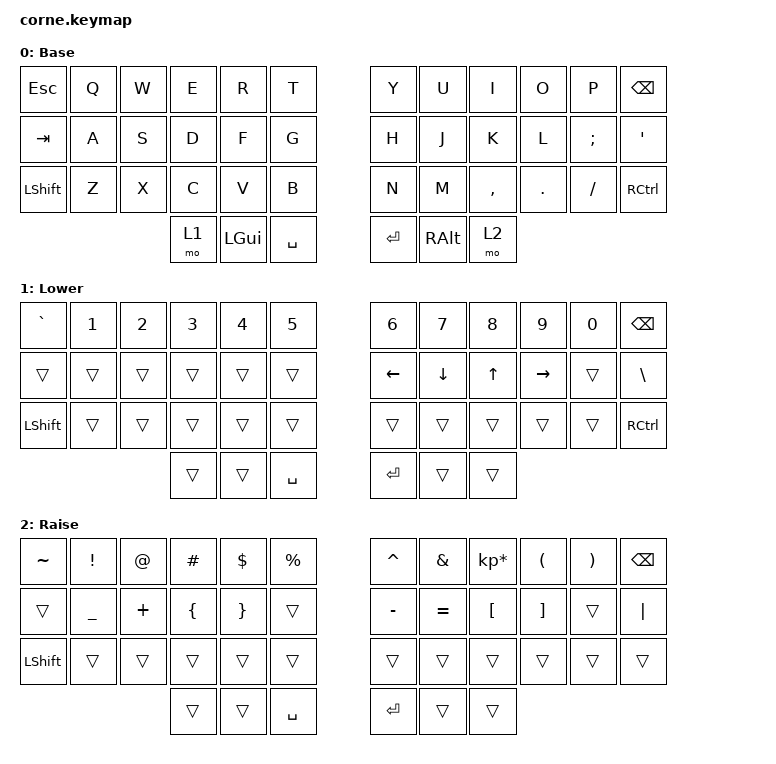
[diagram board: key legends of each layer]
/*
 * Copyright (c) 2020 The ZMK Contributors
 *
 * SPDX-License-Identifier: MIT
 */

#include <behaviors.dtsi>
#include <dt-bindings/zmk/bt.h>
#include <dt-bindings/zmk/keys.h>
#include <dt-bindings/zmk/outputs.h>

/ {
    combos {
        compatible = "zmk,combos";

        BT_CLEAR_ALL {
            bindings = <&bt BT_CLR_ALL>;
            key-positions = <25 36 41>;
        };

        BT_PREV {
            bindings = <&bt BT_PRV>;
            key-positions = <26 36 41>;
        };

        BT_NEXT {
            bindings = <&bt BT_NXT>;
            key-positions = <27 36 41>;
        };

        BL_ONLY {
            bindings = <&out OUT_BLE>;
            key-positions = <28 36 41>;
        };
    };

    keymap {
        compatible = "zmk,keymap";

        default_layer {
            // -----------------------------------------------------------------------------------------
            // |  TAB |  Q  |  W  |  E  |  R  |  T  |   |  Y  |  U   |  I  |  O  |  P  | BKSP |
            // | CTRL |  A  |  S  |  D  |  F  |  G  |   |  H  |  J   |  K  |  L  |  ;  |  '   |
            // | SHFT |  Z  |  X  |  C  |  V  |  B  |   |  N  |  M   |  ,  |  .  |  /  | ESC  |
            //                    | GUI | LWR | SPC |   | ENT | RSE  | ALT |

            display-name = "Base";
            bindings = <
&kp ESC    &kp Q  &kp W  &kp E  &kp R     &kp T        &kp Y    &kp U     &kp I      &kp O    &kp P     &kp BSPC
&kp TAB    &kp A  &kp S  &kp D  &kp F     &kp G        &kp H    &kp J     &kp K      &kp L    &kp SEMI  &kp SQT
&kp LSHFT  &kp Z  &kp X  &kp C  &kp V     &kp B        &kp N    &kp M     &kp COMMA  &kp DOT  &kp FSLH  &kp RCTRL
                         &mo 1  &kp LGUI  &kp SPACE    &kp RET  &kp RALT  &mo 2
            >;
        };

        lower_layer {
            // -----------------------------------------------------------------------------------------
            // |  TAB |  1  |  2  |  3  |  4  |  5  |   |  6  |  7  |  8  |  9  |  0  | BKSP |
            // | BTCLR| BT1 | BT2 | BT3 | BT4 | BT5 |   | LFT | DWN |  UP | RGT |     |      |
            // | SHFT |     |     |     |     |     |   |     |     |     |     |     |      |
            //                    | GUI |     | SPC |   | ENT |     | ALT |

            display-name = "Lower";
            bindings = <
&kp GRAVE  &kp N1  &kp N2  &kp N3  &kp N4  &kp N5       &kp N6    &kp N7    &kp N8  &kp N9     &kp N0  &kp BSPC
&trans     &trans  &trans  &trans  &trans  &trans       &kp LEFT  &kp DOWN  &kp UP  &kp RIGHT  &trans  &kp BACKSLASH
&kp LSHFT  &trans  &trans  &trans  &trans  &trans       &trans    &trans    &trans  &trans     &trans  &kp RCTRL
                           &trans  &trans  &kp SPACE    &kp RET   &trans    &trans
            >;
        };

        raise_layer {
            // -----------------------------------------------------------------------------------------
            // |  TAB |  !  |  @  |  #  |  $  |  %  |   |  ^  |  &  |  *  |  (  |  )  | BKSP |
            // | CTRL |     |     |     |     |     |   |  -  |  =  |  [  |  ]  |  \  |  `   |
            // | SHFT |     |     |     |     |     |   |  _  |  +  |  {  |  }  | "|" |  ~   |
            //                    | GUI |     | SPC |   | ENT |     | ALT |

            display-name = "Raise";
            bindings = <
&kp TILDE  &kp EXCL        &kp AT    &kp HASH        &kp DLLR         &kp PRCNT    &kp CARET  &kp AMPS   &kp KP_MULTIPLY  &kp LPAR  &kp RPAR  &kp BSPC
&trans     &kp UNDERSCORE  &kp PLUS  &kp LEFT_BRACE  &kp RIGHT_BRACE  &trans       &kp MINUS  &kp EQUAL  &kp LBKT         &kp RBKT  &trans    &kp PIPE
&kp LSHFT  &trans          &trans    &trans          &trans           &trans       &trans     &trans     &trans           &trans    &trans    &trans
                                     &trans          &trans           &kp SPACE    &kp RET    &trans     &trans
            >;
        };
    };
};
